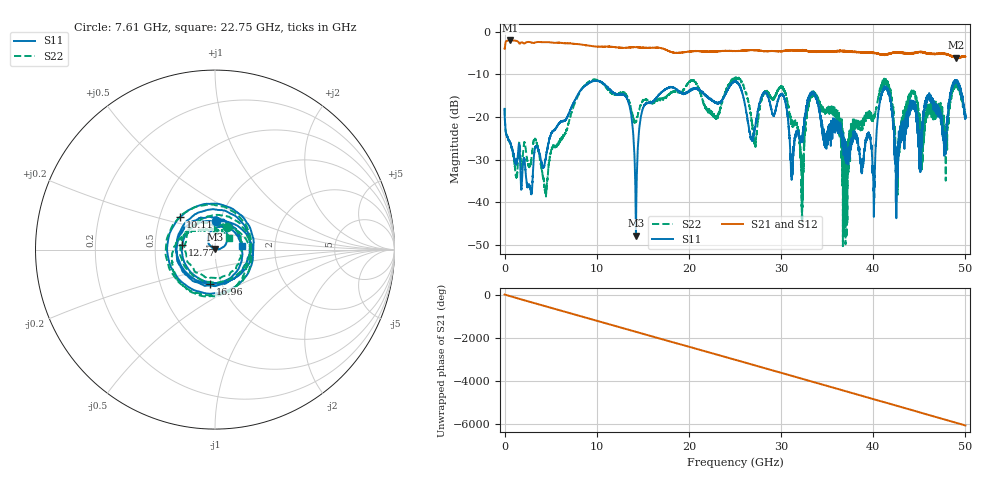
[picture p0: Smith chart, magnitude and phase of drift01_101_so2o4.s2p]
!Created with skrf (http://scikit-rf.org).
# Hz S RI R 50.0
!freq ReS11 ImS11 ReS21 ImS21 ReS12 ImS12 ReS22 ImS22
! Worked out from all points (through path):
!   10001 points, 300 kHz to 50 GHz, reference 50 ohm
!   highest |S21| = -2.00 dB at 570.3 MHz (marker M1); lowest = -6.1 dB at 48.98 GHz (marker M2)
!   group delay of S21, straight-line fit = 336 ps
!   lowest |S11| = -47.9 dB at 14.25 GHz (marker M3), VSWR 1.01, Z = 50.1 + j0.4 ohm
!   |S11| at or under -10 dB: start of sweep to end of sweep
!   |S22| runs from -50.3 to -10.5 dB; largest |S21 - S12| = 0.023
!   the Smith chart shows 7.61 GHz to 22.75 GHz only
!   S11 on the Smith chart (normalised r, x): 7.61 GHz: 0.96, +0.31; 10.11 GHz: 0.64, +0.25; 12.77 GHz: 0.69, +0.03; 16.96 GHz: 0.88, -0.35; 22.75 GHz: 1.35, +0.05
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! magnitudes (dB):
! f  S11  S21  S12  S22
! 300 kHz  -18.1  -3.9  -4.0  -17.9
! 570.3 MHz  -26.0  -2.0  -2.0  -26.0
! 4.445 GHz  -29.8  -2.4  -2.4  -37.5
! 7.61 GHz  -16.1  -2.8  -2.8  -16.8
! 8.335 GHz  -13.5  -3.0  -3.0  -13.5
! 10.11 GHz  -11.5  -3.5  -3.4  -11.3
! 12.77 GHz  -14.7  -3.7  -3.7  -14.3
! 14.25 GHz  -47.9  -3.6  -3.6  -21.2
! 16.67 GHz  -14.9  -3.7  -3.7  -15.8
! 16.96 GHz  -14.3  -3.8  -3.8  -15.7
! 22.75 GHz  -16.5  -4.6  -4.6  -19.6
! 25 GHz  -11.6  -4.5  -4.5  -11.0
! 27.15 GHz  -22.4  -4.3  -4.3  -25.9
! 30.21 GHz  -14.9  -4.5  -4.5  -13.5
! 32.25 GHz  -25.0  -4.3  -4.3  -37.5
! 33.34 GHz  -14.2  -4.6  -4.6  -14.6
! 37.02 GHz  -27.2  -4.4  -4.5  -28.5
! 40.06 GHz  -42.1  -5.0  -4.9  -20.4
! 41.67 GHz  -14.2  -5.1  -5.1  -12.8
! 42.56 GHz  -36.0  -4.8  -4.8  -28.3
! 48.98 GHz  -11.5  -6.1  -6.0  -12.8
! 50 GHz  -19.8  -5.8  -5.8  -19.8
